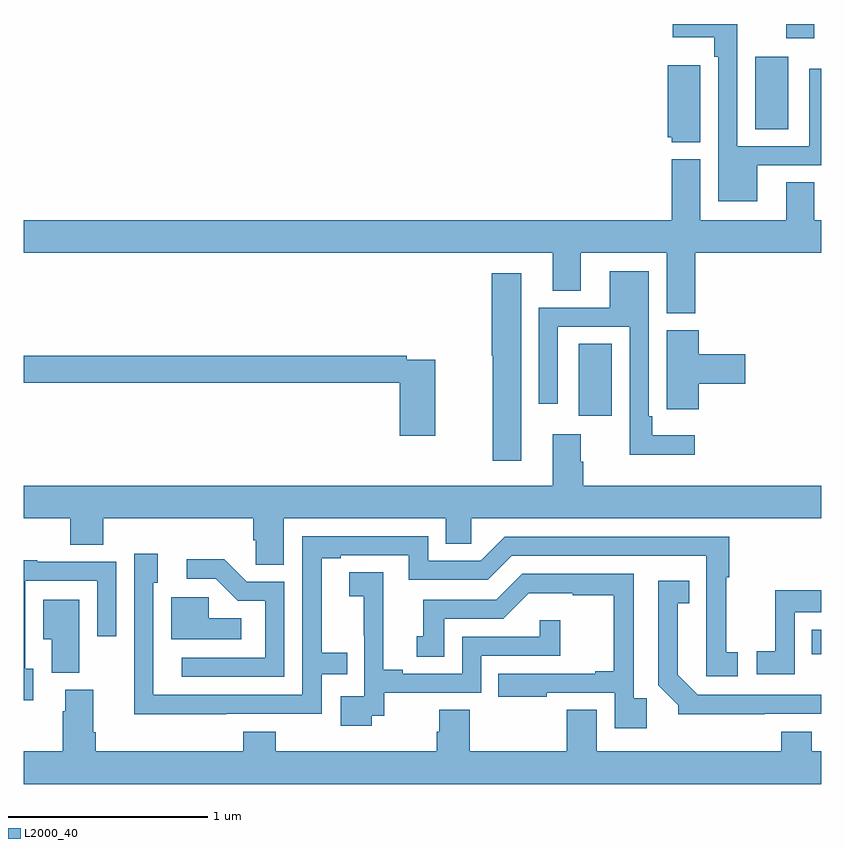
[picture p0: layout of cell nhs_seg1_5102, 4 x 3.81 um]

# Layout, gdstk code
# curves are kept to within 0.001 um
import gdstk
lib = gdstk.Library(unit=1e-6, precision=1e-09)
def R(c, l, rs):  # rectangles x0, y0, x1, y1
    for r in rs: c.add(gdstk.rectangle(r[:2], r[2:], *l))
def P(c, l, *ps):  # polygons
    for p in ps: c.add(gdstk.Polygon(p, *l))
L2000_40 = (2000, 40)

nhs_seg1_5102 = lib.new_cell('nhs_seg1_5102')
R(nhs_seg1_5102, L2000_40, [(390.952,563.039,391,563.161), (389.783,564.234,389.95,564.596), (390.668,565.672,390.835,566.035), (390.824,566.127,390.964,566.199)])
P(nhs_seg1_5102, L2000_40, [(390.679,565.491),(391,565.491),(391,565.975),(390.939,565.975),(390.939,565.587),(390.579,565.587),(390.579,566.199),(390.255,566.199),(390.255,566.132),(390.463,566.132),(390.463,566.036),(390.483,566.036),(390.483,565.31),(390.679,565.31)],
  [(390.394,565.993),(390.23,565.993),(390.23,565.632),(390.249,565.632),(390.249,565.607),(390.394,565.607)],
  [(391,565.216),(390.964,565.216),(390.964,565.406),(390.824,565.406),(390.824,565.216),(390.394,565.216),(390.394,565.522),(390.251,565.522),(390.251,565.216),(387,565.216),(387,565.052),(389.654,565.052),(389.654,564.862),(389.794,564.862),(389.794,565.052),(390.224,565.052),(390.224,564.748),(390.368,564.748),(390.368,565.052),(391,565.052)],
  [(390.364,564.136),(390.151,564.136),(390.151,564.232),(390.135,564.232),(390.135,564.958),(389.939,564.958),(389.939,564.777),(389.583,564.777),(389.583,564.294),(389.679,564.294),(389.679,564.681),(390.039,564.681),(390.039,564.038),(390.364,564.038)],
  [(389.494,564.949),(389.348,564.949),(389.348,564.536),(389.353,564.536),(389.353,564.009),(389.494,564.009)],
  [(390.386,564.395),(390.619,564.395),(390.619,564.542),(390.386,564.542),(390.386,564.663),(390.224,564.663),(390.224,564.379),(390.225,564.379),(390.225,564.267),(390.386,564.267)],
  [(389.064,564.516),(388.922,564.516),(388.922,564.536),(387,564.536),(387,564.4),(388.886,564.4),(388.886,564.135),(389.064,564.135)],
  [(388.303,563.72),(389.117,563.72),(389.117,563.593),(389.244,563.593),(389.244,563.72),(391,563.72),(391,563.884),(389.807,563.884),(389.807,564.005),(389.794,564.005),(389.794,564.142),(389.654,564.142),(389.654,563.884),(387,563.884),(387,563.72),(387.233,563.72),(387.233,563.587),(387.398,563.587),(387.398,563.72),(388.151,563.72),(388.151,563.611),(388.164,563.611),(388.164,563.488),(388.303,563.488)],
  [(388.016,562.74),(388.494,562.74),(388.494,562.938),(388.622,562.938),(388.622,563.047),(388.495,563.047),(388.495,563.52),(388.591,563.52),(388.591,563.535),(388.932,563.535),(388.932,563.412),(389.328,563.412),(389.448,563.532),(390.423,563.532),(390.422,562.929),(390.58,562.929),(390.58,563.049),(390.522,563.049),(390.522,563.425),(390.539,563.425),(390.539,563.628),(389.412,563.628),(389.292,563.508),(389.028,563.508),(389.028,563.631),(388.398,563.631),(388.398,562.836),(387.651,562.836),(387.651,563.397),(387.673,563.397),(387.673,563.542),(387.555,563.542),(387.554,562.739)],
  [(388.308,563.403),(388.119,563.403),(388.006,563.516),(387.819,563.516),(387.819,563.418),(387.963,563.418),(388.074,563.307),(388.212,563.307),(388.212,563.022),(387.792,563.022),(387.792,562.926),(388.308,562.926)],
  [(387.049,562.965),(387.009,562.965),(387.009,563.406),(387.369,563.406),(387.369,563.13),(387.465,563.13),(387.465,563.502),(387.069,563.502),(387.069,563.509),(387,563.509),(387,562.809),(387.049,562.809)],
  [(388.746,562.731),(388.808,562.731),(388.808,562.845),(389.295,562.845),(389.295,563.031),(389.69,563.031),(389.69,563.209),(389.589,563.209),(389.589,563.127),(389.199,563.127),(389.199,562.941),(388.9,562.941),(388.9,562.961),(388.804,562.961),(388.804,563.339),(388.802,563.339),(388.802,563.45),(388.632,563.45),(388.632,563.329),(388.706,563.329),(388.706,563.131),(388.707,563.131),(388.707,562.827),(388.59,562.827),(388.59,562.68),(388.746,562.68)],
  [(390.125,562.819),(390.06,562.819),(390.06,563.442),(389.499,563.442),(389.37,563.313),(389.003,563.313),(389.003,563.13),(388.97,563.13),(388.97,563.026),(389.11,563.026),(389.11,563.217),(389.406,563.217),(389.534,563.345),(389.753,563.345),(389.753,563.334),(389.959,563.334),(389.959,562.954),(389.867,562.954),(389.867,562.941),(389.38,562.941),(389.38,562.826),(389.623,562.826),(389.623,562.845),(389.964,562.845),(389.964,562.668),(390.125,562.668)],
  [(390.716,562.74),(391,562.74),(391,562.836),(390.381,562.836),(390.28,562.937),(390.28,563.294),(390.338,563.294),(390.338,563.407),(390.183,563.407),(390.183,562.882),(390.282,562.783),(390.282,562.739)],
  [(390.867,563.25),(391,563.25),(391,563.359),(390.769,563.359),(390.769,563.054),(390.675,563.054),(390.675,562.938),(390.867,562.938)],
  [(388.09,563.218),(387.927,563.218),(387.927,563.325),(387.74,563.325),(387.74,563.114),(388.09,563.114)],
  [(387.28,563.311),(387.098,563.311),(387.098,563.114),(387.14,563.114),(387.14,562.945),(387.28,562.945)],
  [(391,562.552),(390.952,562.552),(390.952,562.651),(390.8,562.651),(390.8,562.552),(389.875,562.552),(389.875,562.76),(389.723,562.76),(389.723,562.552),(389.237,562.552),(389.237,562.76),(389.084,562.76),(389.084,562.65),(389.072,562.65),(389.072,562.552),(388.265,562.552),(388.265,562.651),(388.1,562.651),(388.1,562.552),(387.362,562.552),(387.362,562.648),(387.349,562.648),(387.349,562.86),(387.209,562.86),(387.209,562.754),(387.197,562.754),(387.197,562.552),(387,562.552),(387,562.388),(391,562.388)])

lib.write_gds('nhs_seg1_5102.gds')
